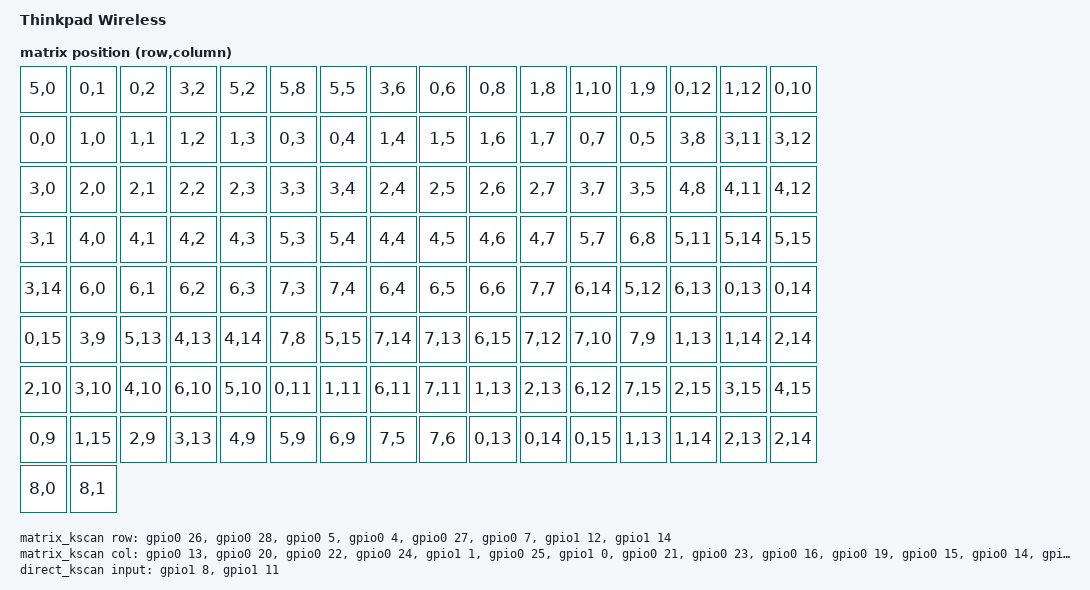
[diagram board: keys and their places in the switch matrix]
/*
 * Copyright (c) 2024 The ZMK Contributors
 * SPDX-License-Identifier: MIT
 */

/dts-v1/;
#include <nordic/nrf52840_qiaa.dtsi>
#include <dt-bindings/zmk/hid_indicators.h>
#include <dt-bindings/zmk/matrix_transform.h>
#include <dt-bindings/pinctrl/nrf-pinctrl.h>

/ {
    model = "Thinkpad Wireless";
    compatible = "thinkpad,wireless";

    aliases {
        pwm-led0 = &pwm_led_power;
    };

    indicators {
        compatible = "zmk,indicator-leds";
        caps_lock_indicator: caps_lock_indicator {
            indicator = <HID_INDICATOR_CAPS_LOCK>;
            leds = <&caps_lock_led>;
        };
    };

    chosen {
        zephyr,sram = &sram0;
        zephyr,flash = &flash0;
        zephyr,code-partition = &code_partition;
        zmk,kscan = &kscan0;
        zmk,matrix-transform = &default_transform;
        zmk,battery = &vbatt;
    };

    default_transform: keymap_transform_0 {
        compatible = "zmk,matrix-transform";
        columns = <16>;
        rows = <9>;
        map = <
            /* Row 0: F-row + Esc */
            RC(5,0)  RC(0,1)  RC(0,2)  RC(3,2)  RC(5,2)  RC(5,8)  RC(5,5)  RC(3,6)  RC(0,6)  RC(0,8)  RC(1,8)  RC(1,10) RC(1,9)  RC(0,12) RC(1,12) RC(0,10)
            /* Row 1: Number row */
            RC(0,0)  RC(1,0)  RC(1,1)  RC(1,2)  RC(1,3)  RC(0,3)  RC(0,4)  RC(1,4)  RC(1,5)  RC(1,6)  RC(1,7)  RC(0,7)  RC(0,5)  RC(3,8)  RC(3,11) RC(3,12)
            /* Row 2: Tab row */
            RC(3,0)  RC(2,0)  RC(2,1)  RC(2,2)  RC(2,3)  RC(3,3)  RC(3,4)  RC(2,4)  RC(2,5)  RC(2,6)  RC(2,7)  RC(3,7)  RC(3,5)  RC(4,8)  RC(4,11) RC(4,12)
            /* Row 3: Caps row */
            RC(3,1)  RC(4,0)  RC(4,1)  RC(4,2)  RC(4,3)  RC(5,3)  RC(5,4)  RC(4,4)  RC(4,5)  RC(4,6)  RC(4,7)  RC(5,7)  RC(6,8)  RC(5,11) RC(5,14) RC(5,15)
            /* Row 4: Shift row */
            RC(3,14) RC(6,0)  RC(6,1)  RC(6,2)  RC(6,3)  RC(7,3)  RC(7,4)  RC(6,4)  RC(6,5)  RC(6,6)  RC(7,7)  RC(6,14) RC(5,12) RC(6,13) RC(0,13) RC(0,14)
            /* Row 5: Ctrl/Space row */
            RC(0,15) RC(3,9)  RC(5,13) RC(4,13) RC(4,14) RC(7,8)  RC(5,15) RC(7,14) RC(7,13) RC(6,15) RC(7,12) RC(7,10) RC(7,9)  RC(1,13) RC(1,14) RC(2,14)
            /* Row 6: Media keys */
            RC(2,10) RC(3,10) RC(4,10) RC(6,10) RC(5,10) RC(0,11) RC(1,11) RC(6,11) RC(7,11) RC(1,13) RC(2,13) RC(6,12) RC(7,15) RC(2,15) RC(3,15) RC(4,15)
            /* Row 7: Unused */
            RC(0,9)  RC(1,15) RC(2,9)  RC(3,13) RC(4,9)  RC(5,9)  RC(6,9)  RC(7,5)  RC(7,6)  RC(0,13) RC(0,14) RC(0,15) RC(1,13) RC(1,14) RC(2,13) RC(2,14)
            /* Row 8: Direct keys */
            RC(8,0)  RC(8,1)
        >;
    };

    kscan0: kscan_composite {
        compatible = "zmk,kscan-composite";
        rows = <9>;
        columns = <16>;
        wakeup-source;

        matrix {
            kscan = <&matrix_kscan>;
        };

        direct {
            kscan = <&direct_kscan>;
            row-offset = <8>;
            column-offset = <0>;
        };
    };

    matrix_kscan: kscan_matrix {
        compatible = "zmk,kscan-gpio-matrix";
        diode-direction = "col2row";

        row-gpios
            = <&gpio0 26 (GPIO_ACTIVE_HIGH | GPIO_PULL_DOWN)> /* SENSE0 G1 -> P0.26 */
            , <&gpio0 28 (GPIO_ACTIVE_HIGH | GPIO_PULL_DOWN)> /* SENSE1 B11 -> P0.28 */
            , <&gpio0 5  (GPIO_ACTIVE_HIGH | GPIO_PULL_DOWN)> /* SENSE2 K2 -> P0.05 */
            , <&gpio0 4  (GPIO_ACTIVE_HIGH | GPIO_PULL_DOWN)> /* SENSE3 J1 -> P0.04 */
            , <&gpio0 27 (GPIO_ACTIVE_HIGH | GPIO_PULL_DOWN)> /* SENSE4 H2 -> P0.27 */
            , <&gpio0 7  (GPIO_ACTIVE_HIGH | GPIO_PULL_DOWN)> /* SENSE5 M2 -> P0.07 */
            , <&gpio1 12 (GPIO_ACTIVE_HIGH | GPIO_PULL_DOWN)> /* SENSE6 B17 -> P1.12 */
            , <&gpio1 14 (GPIO_ACTIVE_HIGH | GPIO_PULL_DOWN)> /* SENSE7 B15 -> P1.14 */
            ;

        col-gpios
            = <&gpio0 13 GPIO_ACTIVE_HIGH> /* DRV0 AD8 -> P0.13 */
            , <&gpio0 20 GPIO_ACTIVE_HIGH> /* DRV1 AD16 -> P0.20 */
            , <&gpio0 22 GPIO_ACTIVE_HIGH> /* DRV2 AD18 -> P0.22 */
            , <&gpio0 24 GPIO_ACTIVE_HIGH> /* DRV3 AD20 -> P0.24 */
            , <&gpio1 1  GPIO_ACTIVE_HIGH> /* DRV4 Y23 -> P1.01 */
            , <&gpio0 25 GPIO_ACTIVE_HIGH> /* DRV5 AC21 -> P0.25 */
            , <&gpio1 0  GPIO_ACTIVE_HIGH> /* DRV6 AD22 -> P1.00 */
            , <&gpio0 21 GPIO_ACTIVE_HIGH> /* DRV7 AC17 -> P0.21 */
            , <&gpio0 23 GPIO_ACTIVE_HIGH> /* DRV8 AC19 -> P0.23 */
            , <&gpio0 16 GPIO_ACTIVE_HIGH> /* DRV9 AC11 -> P0.16 */
            , <&gpio0 19 GPIO_ACTIVE_HIGH> /* DRV10 AC15 -> P0.19 */
            , <&gpio0 15 GPIO_ACTIVE_HIGH> /* DRV11 AD10 -> P0.15 */
            , <&gpio0 14 GPIO_ACTIVE_HIGH> /* DRV12 AC9 -> P0.14 */
            , <&gpio1 5  GPIO_ACTIVE_HIGH> /* DRV13 T23 -> P1.05 */
            , <&gpio0 17 GPIO_ACTIVE_HIGH> /* DRV14 AD12 -> P0.17 */
            , <&gpio1 3  GPIO_ACTIVE_HIGH> /* DRV15 V23 -> P1.03 */
            ;
    };

    direct_kscan: kscan_direct {
        compatible = "zmk,kscan-gpio-direct";
        wakeup-source;
        input-gpios
            = <&gpio1 8 (GPIO_ACTIVE_LOW | GPIO_PULL_UP)>   /* HOTKEY -> P1.08 */
            , <&gpio1 11 (GPIO_ACTIVE_LOW | GPIO_PULL_UP)>  /* PWRSWITCH -> P1.11 */
            ;
    };

    gpio_ps2: gpio_ps2 {
        status = "okay";
        compatible = "gpio-ps2";
        scl-gpios = <&gpio1 13 (GPIO_ACTIVE_HIGH | GPIO_PULL_UP)>; /* TP4CLK -> P1.13 */
        sda-gpios = <&gpio1 10 (GPIO_ACTIVE_HIGH | GPIO_PULL_UP)>; /* TP4DATA -> P1.10 */
    };

    mouse_ps2: mouse_ps2 {
        status = "okay";
        compatible = "zmk,input-mouse-ps2";
        ps2-device = <&gpio_ps2>;
        rst-gpios = <&gpio1 9 GPIO_ACTIVE_LOW>; /* TP4_RESET -> P1.09 */
    };

    mouse_ps2_input_listener: mouse_ps2_input_listener {
        compatible = "zmk,input-listener-ps2";
        status = "okay";
        device = <&mouse_ps2>;
    };

    vbatt: vbatt {
        compatible = "zmk,battery-voltage-divider";
        io-channels = <&adc 0>; /* A12 -> AIN0 (Channel 0) */
        output-ohms = <100000>;
        full-ohms = <200000>; /* 50% voltage divider */
    };

    pwmleds {
        compatible = "pwm-leds";
        pwm_led_power: pwm_led_power {
            pwms = <&pwm0 0 PWM_MSEC(20) PWM_POLARITY_INVERTED>; /* P0.29 */
        };
    };

    leds {
        compatible = "gpio-leds";
        caps_lock_led: caps_lock_led {
            gpios = <&gpio0 31 GPIO_ACTIVE_LOW>; /* A8 -> P0.31 */
            label = "Caps Lock LED";
        };
        mute_led: mute_led {
            gpios = <&gpio1 15 GPIO_ACTIVE_LOW>; /* A14 -> P1.15 */
            label = "Mute LED";
        };
        mic_mute_led: mic_mute_led {
            gpios = <&gpio1 7 GPIO_ACTIVE_LOW>; /* P23 -> P1.07 */
            label = "Mic Mute LED";
        };
        bt_led: bt_led {
            gpios = <&gpio1 2 GPIO_ACTIVE_LOW>; /* W24 -> P1.02 */
            label = "Bluetooth LED";
        };
        bat_led_r: bat_led_r {
            gpios = <&gpio1 6 GPIO_ACTIVE_LOW>; /* R24 -> P1.06 */
            label = "Battery Red LED";
        };
        bat_led_g: bat_led_g {
            gpios = <&gpio1 4 GPIO_ACTIVE_LOW>; /* U24 -> P1.04 */
            label = "Battery Green LED";
        };
    };

    board_ext_power: ext_power {
        compatible = "zmk,ext-power-generic";
        control-gpios = <&gpio0 12 GPIO_ACTIVE_HIGH>; /* 5V_EN -> P0.12 */
        init-delay-ms = <50>;
    };
};

&flash0 {
    partitions {
        compatible = "fixed-partitions";
        #address-cells = <1>;
        #size-cells = <1>;

        sd_partition: partition@0 {
            label = "softdevice";
            reg = <0x00000000 0x00026000>;
        };
        code_partition: partition@26000 {
            label = "code_partition";
            reg = <0x00026000 0x000c6000>;
        };
        storage_partition: partition@ec000 {
            label = "storage";
            reg = <0x000ec000 0x00008000>;
        };
        boot_partition: partition@f4000 {
            label = "adafruit_boot";
            reg = <0x000f4000 0x0000c000>;
        };
    };
};

&gpio0 {
    status = "okay";
};

&gpio1 {
    status = "okay";
};

&pinctrl {
    pwm0_default: pwm0_default {
        group1 {
            psels = <NRF_PSEL(PWM_OUT0, 0, 29)>;
        };
    };

    pwm0_sleep: pwm0_sleep {
        group1 {
            psels = <NRF_PSEL(PWM_OUT0, 0, 29)>;
            low-power-enable;
        };
    };
};

&pwm0 {
    status = "okay";
    pinctrl-0 = <&pwm0_default>;
    pinctrl-1 = <&pwm0_sleep>;
    pinctrl-names = "default", "sleep";
};

&gpiote {
    status = "okay";
}
